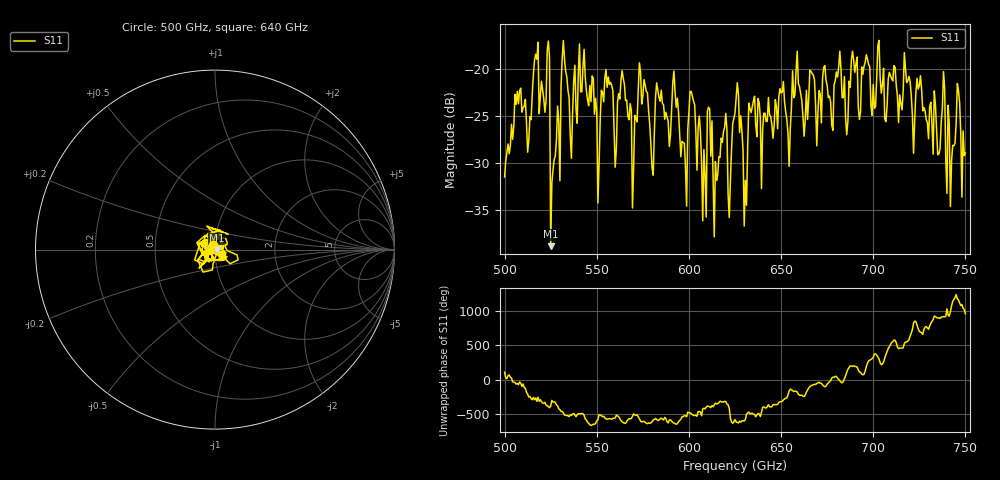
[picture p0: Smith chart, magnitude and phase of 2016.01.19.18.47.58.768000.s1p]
!Created with skrf (http://scikit-rf.org).
# GHz S RI R 50.0
!freq ReS11 ImS11
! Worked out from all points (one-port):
!   401 points, 500 GHz to 750 GHz, reference 50 ohm
!   lowest |S11| = -38.8 dB at 525 GHz (marker M1), VSWR 1.02, Z = 51.1 - j0.402 ohm
!   |S11| at or under -10 dB: start of sweep to end of sweep
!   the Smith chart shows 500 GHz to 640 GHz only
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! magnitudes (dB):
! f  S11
! 500 GHz  -31.5
! 506.9 GHz  -22.4
! 513.1 GHz  -27.5
! 516.9 GHz  -18.4
! 523.1 GHz  -18.0
! 525 GHz  -38.8
! 526.2 GHz  -30.7
! 531.2 GHz  -18.8
! 550.6 GHz  -34.2
! 562.5 GHz  -23.2
! 570.6 GHz  -24.9
! 574.4 GHz  -23.7
! 580 GHz  -30.5
! 593.8 GHz  -23.1
! 597.5 GHz  -27.9
! 601.9 GHz  -22.9
! 608.1 GHz  -28.5
! 611.2 GHz  -24.2
! 614.4 GHz  -29.8
! 619.4 GHz  -26.2
! 622.5 GHz  -31.9
! 625 GHz  -24.6
! 630.6 GHz  -31.8
! 633.8 GHz  -24.6
! 656.2 GHz  -20.2
! 687.5 GHz  -21.9
! 718.8 GHz  -21.3
! 750 GHz  -28.9
